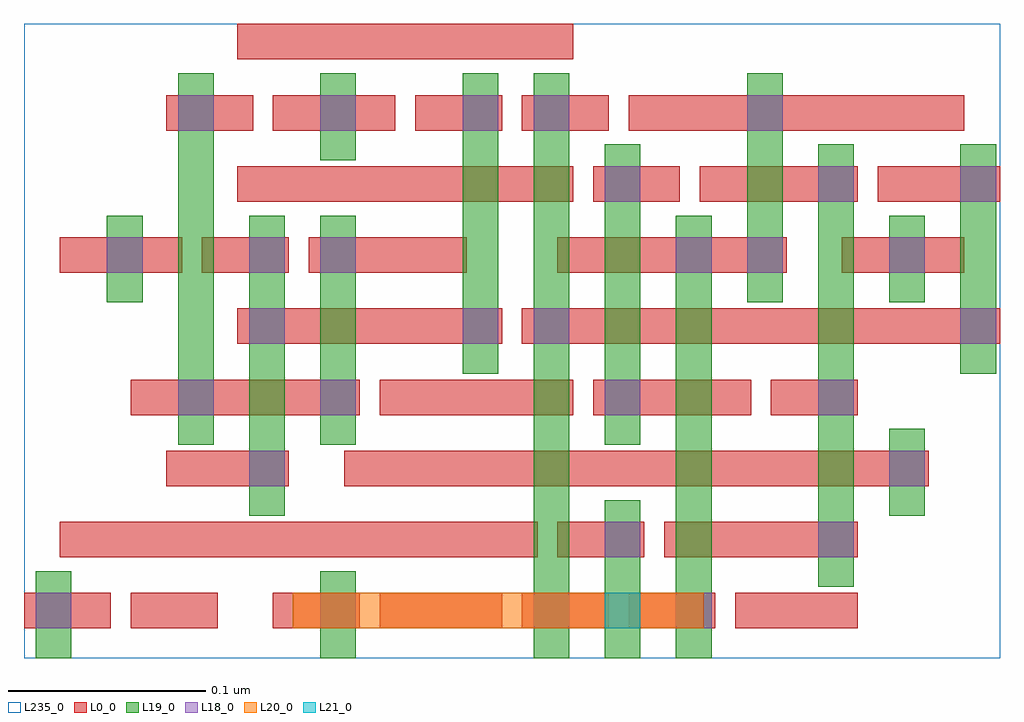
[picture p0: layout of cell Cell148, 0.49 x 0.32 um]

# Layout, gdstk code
import gdstk
lib = gdstk.Library(unit=1e-6, precision=2.5e-10)
def R(c, l, rs):  # rectangles x0, y0, x1, y1
    for r in rs: c.add(gdstk.rectangle(r[:2], r[2:], *l))
def A(c, l, x, y, w, h, nx, ny, dx, dy):  # array of equal rectangles
    R(c, l, [(x+i*dx, y+j*dy, x+i*dx+w, y+j*dy+h) for i in range(nx) for j in range(ny)])
L0_0 = (0, 0)
L18_0 = (18, 0)
L19_0 = (19, 0)
L20_0 = (20, 0)
L21_0 = (21, 0)
L235_0 = (235, 0)

cell148 = lib.new_cell('Cell148')
R(cell148, L0_0, [(0.004,-0.001,0.048,0.017), (0.058,-0.001,0.102,0.017), (0.13,-0.001,0.174,0.017), (0.184,-0.001,0.246,0.017), (0.256,-0.001,0.3,0.017), (0.31,-0.001,0.354,0.017), (0.364,-0.001,0.426,0.017), (0.022,0.035,0.264,0.053), (0.274,0.035,0.318,0.053), (0.328,0.035,0.426,0.053), (0.076,0.071,0.138,0.089), (0.166,0.071,0.462,0.089), (0.058,0.107,0.174,0.125), (0.184,0.107,0.282,0.125), (0.292,0.107,0.372,0.125), (0.382,0.107,0.426,0.125), (0.112,0.143,0.246,0.161), (0.256,0.143,0.498,0.161), (0.022,0.179,0.084,0.197), (0.094,0.179,0.138,0.197), (0.148,0.179,0.228,0.197), (0.274,0.179,0.39,0.197), (0.418,0.179,0.48,0.197), (0.112,0.215,0.282,0.233), (0.292,0.215,0.336,0.233), (0.346,0.215,0.426,0.233), (0.436,0.215,0.498,0.233), (0.076,0.251,0.12,0.269), (0.13,0.251,0.192,0.269), (0.202,0.251,0.246,0.269), (0.256,0.251,0.3,0.269), (0.31,0.251,0.48,0.269), (0.112,0.287,0.282,0.305)])
A(cell148, L18_0, 0.082, 0.251, 0.018, 0.018, 3, 1, 0.072, 0)
R(cell148, L18_0, [(0.01,-0.001,0.028,0.017), (0.154,-0.001,0.172,0.017), (0.262,-0.001,0.28,0.017), (0.334,-0.001,0.352,0.017), (0.298,0.035,0.316,0.053), (0.406,0.035,0.424,0.053), (0.118,0.071,0.136,0.089), (0.442,0.071,0.46,0.089), (0.082,0.107,0.1,0.125), (0.154,0.107,0.172,0.125), (0.298,0.107,0.316,0.125), (0.406,0.107,0.424,0.125), (0.118,0.143,0.136,0.161), (0.226,0.143,0.244,0.161), (0.262,0.143,0.28,0.161), (0.478,0.143,0.496,0.161), (0.046,0.179,0.064,0.197), (0.118,0.179,0.136,0.197), (0.154,0.179,0.172,0.197), (0.334,0.179,0.352,0.197), (0.37,0.179,0.388,0.197), (0.442,0.179,0.46,0.197), (0.298,0.215,0.316,0.233), (0.406,0.215,0.424,0.233), (0.478,0.215,0.496,0.233), (0.262,0.251,0.28,0.269), (0.37,0.251,0.388,0.269)])
R(cell148, L19_0, [(0.01,-0.016,0.028,0.028), (0.154,-0.016,0.172,0.028), (0.262,-0.016,0.28,0.28), (0.298,-0.016,0.316,0.064), (0.334,-0.016,0.352,0.208), (0.406,0.02,0.424,0.244), (0.118,0.056,0.136,0.208), (0.442,0.056,0.46,0.1), (0.082,0.092,0.1,0.28), (0.154,0.092,0.172,0.208), (0.298,0.092,0.316,0.244), (0.226,0.128,0.244,0.28), (0.478,0.128,0.496,0.244), (0.046,0.164,0.064,0.208), (0.37,0.164,0.388,0.28), (0.442,0.164,0.46,0.208), (0.154,0.236,0.172,0.28)])
R(cell148, L20_0, [(0.14,-0.001,0.348,0.017)])
R(cell148, L21_0, [(0.298,-0.001,0.316,0.017)])
R(cell148, L235_0, [(0.004,-0.016,0.498,0.305)])

lib.write_gds('Cell148.gds')
